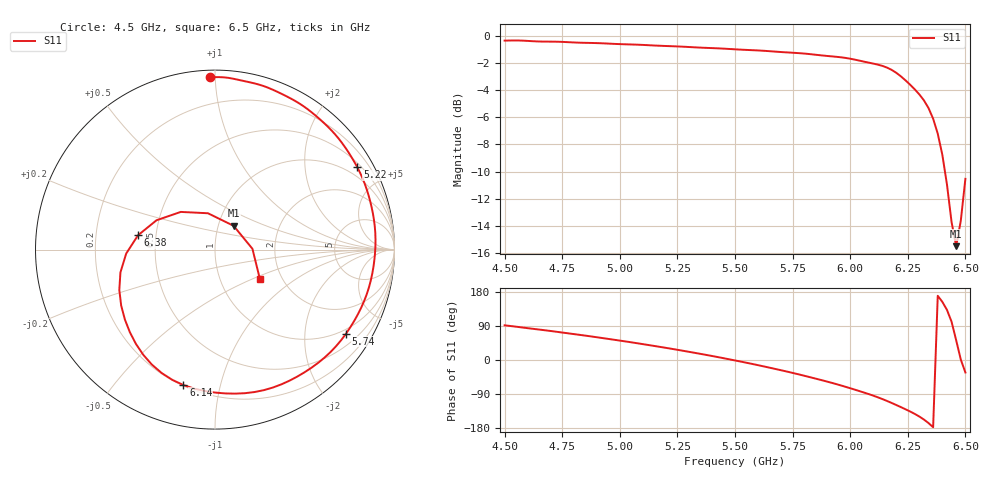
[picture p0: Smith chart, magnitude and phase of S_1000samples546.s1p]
! TOUCHSTONE file generated by CST MICROWAVE STUDIO
! Date and time: Fri Oct 28 13:15:18 2022
! Project name: L.cst
! Parameters = {Di=1.27; Epsilon_r=1.56; InnerDiameter=1.27; Length=2; Lf=10; Lg=60; OuterConductorThickness=0.2921; OuterDiameter=3.6; Wf=3; Wp=41.2; de=1.5; df=6.8; g=0.8; gx=4.23868; gy=3.15971; h=2.34; hf=1.524; px=9.59597; py=13.638; w=9.7; wx=5.35728; wy=10.4783}
! Header version: 2018
! Port assignment regex: !\s*Touchstone port\s*([0-9]+)\s*=\s*(CST MWS port|CST DS port)\s*([0-9]+|Zmin|Zmax)\s*\(\"(.*)\"\)(\s*mode\s*([0-9]+))?.*
! Touchstone port assignment:
! Touchstone port 1 = CST MWS port 1 ("")
# GHz S DB R 50
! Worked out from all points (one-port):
!   101 points, 4.5 GHz to 6.5 GHz, reference 50 ohm
!   lowest |S11| = -15.5 dB at 6.46 GHz (marker M1), VSWR 1.40, Z = 59.2 + j16.1 ohm
!   |S11| at or under -10 dB: 6.411 GHz to end of sweep
!   S11 on the Smith chart (normalised r, x): 4.5 GHz: 0.04, +0.97; 5.22 GHz: 0.64, +3.62; 5.74 GHz: 0.85, -3.21; 6.14 GHz: 0.20, -0.77; 6.38 GHz: 0.40, +0.08; 6.5 GHz: 1.55, -0.55
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4.5  -0.35 91.5
4.6  -0.38 84.0
4.76  -0.46 71.7
4.88  -0.53 61.8
5  -0.61 51.2
5.22  -0.76 30.0
5.26  -0.79 25.9
5.4  -0.90 10.6
5.5  -0.99 -1.2
5.62  -1.10 -16.3
5.74  -1.24 -32.6
5.76  -1.26 -35.5
5.88  -1.45 -53.8
6  -1.69 -74.5
6.08  -1.97 -89.9
6.14  -2.22 -103.2
6.2  -2.72 -118.8
6.26  -3.60 -135.9
6.3  -4.31 -149.2
6.34  -5.32 -166.4
6.36  -6.10 -177.4
6.38  -7.20 169.5
6.4  -8.76 153.4
6.42  -10.94 132.3
6.44  -13.71 101.0
6.46  -15.48 52.0
6.48  -13.62 1.3
6.5  -10.53 -33.0
